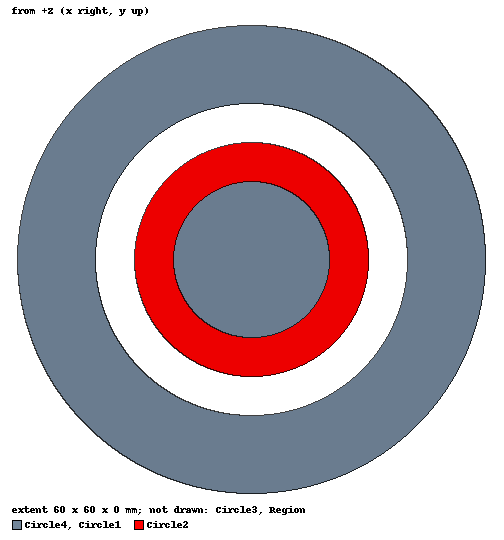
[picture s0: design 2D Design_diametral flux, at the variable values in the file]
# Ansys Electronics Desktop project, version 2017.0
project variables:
  $teta = 0deg
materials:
  vacuum: permittivity=1
  steel_1010: permittivity=1 permeability{BType=normal HUnit=A_per_meter BUnit=tesla curve (0, 0) (238.7, 0.2003) (318.3, 0.3204) (358.1, 0.40045) (437.7, 0.50055) (477.5, 0.5606) (636.6, 0.7908) (795.8, 0.931) (1114.1, 1.1014) (1273.2, 1.2016) (1591.5, 1.302) (2228.2, 1.4028) (3183.1, 1.524) (4774.6, 1.626) (6366.2, 1.698) (7957.7, 1.73) (15915.5, 1.87) (31831, 1.99) (47746.5, 2.04) (63662, 2.07) (79577.5, 2.095) (159155, 2.2) (318310, 2.4)} conductivity=2000000 lande_g_factor=2
  NdFe36: permittivity=1 permeability=1.0729547 conductivity=625000 magnetic_coercivity{Magnitude=-890000A_per_meter DirComp1=sin($teta) DirComp2=cos($teta) DirComp3=0} lande_g_factor=2
  NdFe37_edited: CoordinateSystemType=Cylindrical permittivity=1 permeability=1.0729547 conductivity=625000 magnetic_coercivity{Magnitude=-890000A_per_meter DirComp1=100 DirComp2=0 DirComp3=0} lande_g_factor=2
  NdFe37_ed2: CoordinateSystemType=Cylindrical permittivity=1 permeability=1.0729547 conductivity=625000 magnetic_coercivity{Magnitude=-890000A_per_meter DirComp1=-1 DirComp2=0 DirComp3=0} lande_g_factor=2
  copper: permeability=0.999991 conductivity=58000000
  NdFe_edited: permittivity=1 permeability=1.0729547 conductivity=625000 magnetic_coercivity{Magnitude=-890000A_per_meter DirComp1=1 DirComp2=0 DirComp3=0} lande_g_factor=2

design 2D Design_radial flux (Maxwell 2D, Magnetostatic, XY geometry, model units mm)
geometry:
  Circle1 [steel_1010] = circle(normal=Z, centre=(0mm, 0mm, 0mm), radius=10mm)
  Circle2 [NdFe37_ed2] = circle(normal=Z, centre=(0mm, 0mm, 0mm), radius=15mm)
  Circle3 [vacuum] = circle(normal=Z, centre=(0mm, 0mm, 0mm), radius=20mm)
  Circle4 [steel_1010] = circle(normal=Z, centre=(0mm, 0mm, 0mm), radius=30mm)
  Circle1_1 = Circle1.copy()
  Circle2.subtract(Circle1_1)
  Circle1_2 = Circle1.copy()
  Circle2_1 = Circle2.copy()
  Circle3.subtract(Circle1_2, Circle2_1)
  Circle1_3 = Circle1.copy()
  Circle2_2 = Circle2.copy()
  Circle3_1 = Circle3.copy()
  Circle4.subtract(Circle1_3, Circle2_2, Circle3_1)
  Region [vacuum] = region(percentage_offset: +X=100, -X=100, +Y=100, -Y=100, +Z=0, -Z=0)
  Circle5 [non-model] = circle(normal=Z, centre=(0mm, 0mm, 0mm), radius=17.5mm, uncovered)
  Circle2_Split1 [NdFe37_edited] = Circle2.split(plane=ZX, keep=Both)
  Circle6 [non-model] = circle(normal=Z, centre=(0mm, 0mm, 0mm), radius=17.5mm, uncovered)
  Circle6.split(plane=ZX, keep=PositiveOnly)
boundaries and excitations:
  VectorPotential1: Vector Potential Edges=Region.edge(all 4) Value=0
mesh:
  Length1: LengthBased Objects=[Circle1..Circle4] MaxLength=0.5mm
  initial mesh: MeshMethod=AnsoftClassic
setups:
  Setup1: Magnetostatic MaximumPasses=10 MinimumPasses=2 MinimumConvergedPasses=1 PercentRefinement=30 PercentError=1 NonLinearResidual=0.0001
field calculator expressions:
  BN3 = B_Vector | 2D_Normal | Dot
  BN4 = 2D_Normal | B_Vector | Dot
  flıux_linkage = BN3 | EnterLine(Circle6) | LineValue | Integrate
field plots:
  Flux_Lines1: A over Circle1..Circle4, Circle2_Split1 on Setup1 : LastAdaptive
  B_Vector1, Mag_B1: B over Circle1..Circle4, Circle2_Split1 on Setup1 : LastAdaptive
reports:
  B_rad vs Angle: -BN3 vs Distance*360/2/pi/17.5e-3 on Setup1 : LastAdaptive
  XY Plot 1: flıux_linkage vs $teta on Setup1 : LastAdaptive; markers m1 at 0nm

design 2D Design_diametral flux (Maxwell 2D, Magnetostatic, XY geometry, model units mm)
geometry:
  Circle1 [steel_1010] = circle(normal=Z, centre=(0mm, 0mm, 0mm), radius=10mm)
  Circle2 [NdFe36] = circle(normal=Z, centre=(0mm, 0mm, 0mm), radius=15mm)
  Circle3 [vacuum] = circle(normal=Z, centre=(0mm, 0mm, 0mm), radius=20mm)
  Circle4 [steel_1010] = circle(normal=Z, centre=(0mm, 0mm, 0mm), radius=30mm)
  Circle1_1 = Circle1.copy()
  Circle2.subtract(Circle1_1)
  Circle1_2 = Circle1.copy()
  Circle2_1 = Circle2.copy()
  Circle3.subtract(Circle1_2, Circle2_1)
  Circle1_3 = Circle1.copy()
  Circle2_2 = Circle2.copy()
  Circle3_1 = Circle3.copy()
  Circle4.subtract(Circle1_3, Circle2_2, Circle3_1)
  Region [vacuum] = region(percentage_offset: +X=100, -X=100, +Y=100, -Y=100, +Z=0, -Z=0)
  Circle5 [non-model] = circle(normal=Z, centre=(0mm, 0mm, 0mm), radius=17.5mm, uncovered)
  [Circle1, Circle2].rotate(axis=Z, angle=$teta)
  Circle5.split(plane=ZX, keep=NegativeOnly)
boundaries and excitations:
  VectorPotential1: Vector Potential Edges=Region.edge(all 4) Value=0
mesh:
  Length1: LengthBased Objects=[Circle1..Circle4] MaxLength=0.5mm
  initial mesh: MeshMethod=AnsoftClassic
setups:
  Setup1: Magnetostatic MaximumPasses=10 MinimumPasses=2 MinimumConvergedPasses=1 PercentRefinement=30 PercentError=1 NonLinearResidual=0.0001
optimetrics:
  ParametricSetup1: Parametric Sim._Setups=[Setup1]
    sweep $teta: LIN 0deg 360deg 5deg
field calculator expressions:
  BN3 = B_Vector | 2D_Normal | Dot
  BN4 = 2D_Normal | B_Vector | Dot
  flux = BN4 | EnterLine(Circle5) | LineValue | Integrate
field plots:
  Mesh1: MeshPlots over Circle1..Circle4, Region on Setup1 : LastAdaptive
  Mag_B1: B over Region, Circle1..Circle4 on Setup1 : LastAdaptive
  Flux_Lines1: A over Circle1..Circle4, Region on Setup1 : LastAdaptive
  B_Vector1: B over Circle1..Circle4, Region on Setup1 : LastAdaptive
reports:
  B_rad vs Angle: BN3 vs Distance*360/2/pi/17.5e-3 on Setup1 : LastAdaptive
  XY Plot 1: flux*0.1*1000 vs $teta on Setup1 : LastAdaptive; markers m1 at 0deg
